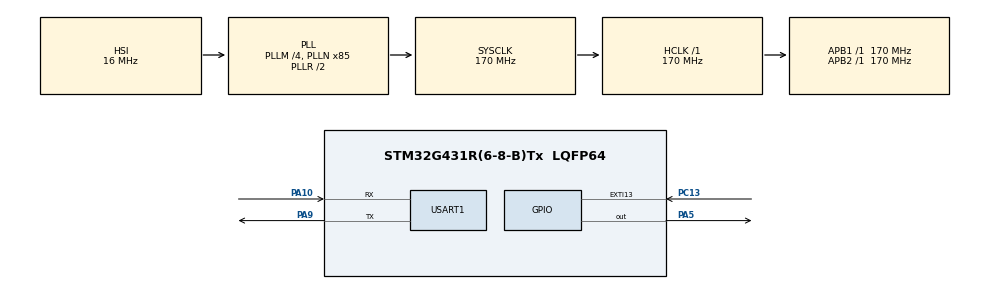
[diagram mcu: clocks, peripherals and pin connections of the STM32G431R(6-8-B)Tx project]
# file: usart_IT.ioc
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Mcu.Family=STM32G4
Mcu.Name=STM32G431R(6-8-B)Tx
Mcu.Package=LQFP64
NUCLEO-G431RB.BUTTON=1
NUCLEO-G431RB.LD1=true
NUCLEO-G431RB.VCP=true
NVIC.EXTI15_10_IRQn=true\:0\:0\:false\:false\:true\:false\:true\:true
NVIC.PriorityGroup=NVIC_PRIORITYGROUP_4
NVIC.USART1_IRQn=true\:0\:0\:false\:false\:true\:true\:true\:true
PA10.Mode=Asynchronous
PA10.Signal=USART1_RX
PA13.GPIO_Label=T_SWDIO
PA13.Signal=SYS_JTMS-SWDIO
PA14.GPIO_Label=T_SWCLK
PA14.Signal=SYS_JTCK-SWCLK
PA2.Signal=LPUART1_TX
PA3.Signal=LPUART1_RX
PA5.Signal=GPIO_Output
PA9.Mode=Asynchronous
PA9.Signal=USART1_TX
PB3.GPIO_Label=T_SWO
PB3.Signal=SYS_JTDO-SWO
PC13.Signal=GPXTI13
PC14-OSC32_IN.GPIO_Label=RCC_OSC32_OUT
PC14-OSC32_IN.Signal=RCC_OSC32_IN
PC15-OSC32_OUT.GPIO_Label=RCC_OSC32_OUT
PC15-OSC32_OUT.Signal=RCC_OSC32_OUT
PF0-OSC_IN.GPIO_Label=RCC_OSC_IN
PF0-OSC_IN.Signal=RCC_OSC_IN
PF1-OSC_OUT.GPIO_Label=RCC_OSC_OUT
PF1-OSC_OUT.Signal=RCC_OSC_OUT
ProjectManager.HeapSize=0x200
ProjectManager.StackSize=0x400
ProjectManager.TargetToolchain=STM32CubeIDE
RCC.ADC12Freq_Value=170000000
RCC.AHBFreq_Value=170000000
RCC.APB1Freq_Value=170000000
RCC.APB1TimFreq_Value=170000000
RCC.APB2Freq_Value=170000000
RCC.APB2TimFreq_Value=170000000
RCC.CortexFreq_Value=170000000
RCC.EXTERNAL_CLOCK_VALUE=12288000
RCC.HCLKFreq_Value=170000000
RCC.HSE_VALUE=24000000
RCC.HSI48_VALUE=48000000
RCC.HSI_VALUE=16000000
RCC.LSE_VALUE=32768
RCC.PLLM=RCC_PLLM_DIV4
RCC.PLLN=85
RCC.RTCClockSelection=RCC_RTCCLKSOURCE_LSE
RCC.SYSCLKFreq_VALUE=170000000
RCC.SYSCLKSource=RCC_SYSCLKSOURCE_PLLCLK
RCC.USBFreq_Value=170000000
RCC.VCOOutputFreq_Value=340000000
USART1.VirtualMode-Asynchronous=VM_ASYNC
VP_NUCLEO-G431RB_VS_BSP_COMMON.Mode=COMMON
VP_SYS_VS_DBSignals.Mode=DisableDeadBatterySignals
board=NUCLEO-G431RB

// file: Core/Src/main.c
/* USER CODE BEGIN Header */
/**
  ******************************************************************************
  * @file           : main.c
  * @brief          : Main program body
  ******************************************************************************
  * @attention
  *
  * Copyright (c) 2025 STMicroelectronics.
  * All rights reserved.
  *
  * This software is licensed under terms that can be found in the LICENSE file
  * in the root directory of this software component.
  * If no LICENSE file comes with this software, it is provided AS-IS.
  *
  ******************************************************************************
  */
/* USER CODE END Header */
#include "main.h"
#include "string.h"

COM_InitTypeDef BspCOMInit;
UART_HandleTypeDef huart1;

/* USER CODE BEGIN PV */
char *firstMessage="Hello World\r\n";
uint8_t rxDataindex = 0;
uint8_t rxData[10];
uint8_t newMessageFlag = 0;

/* USER CODE END PV */

void SystemClock_Config(void);
static void MX_GPIO_Init(void);
static void MX_USART1_UART_Init(void);

int main(void)
{

  /* MCU Configuration--------------------------------------------------------*/

  /* Reset of all peripherals, Initializes the Flash interface and the Systick. */
  HAL_Init();

  /* Configure the system clock */
  SystemClock_Config();

  /* Initialize all configured peripherals */
  MX_GPIO_Init();
  MX_USART1_UART_Init();

  /* Initialize leds */
  BSP_LED_Init(LED_GREEN);

  /* Initialize USER push-button, will be used to trigger an interrupt each time it's pressed.*/
  BSP_PB_Init(BUTTON_USER, BUTTON_MODE_EXTI);

  /* Initialize COM1 port (115200, 8 bits (7-bit data + 1 stop bit), no parity */
  BspCOMInit.BaudRate   = 115200;
  BspCOMInit.WordLength = COM_WORDLENGTH_8B;
  BspCOMInit.StopBits   = COM_STOPBITS_1;
  BspCOMInit.Parity     = COM_PARITY_NONE;
  BspCOMInit.HwFlowCtl  = COM_HWCONTROL_NONE;
  if (BSP_COM_Init(COM1, &BspCOMInit) != BSP_ERROR_NONE)
  {
    Error_Handler();
  }

  /* Infinite loop */
  /* USER CODE BEGIN WHILE */
   __HAL_UART_ENABLE_IT(&huart1, UART_IT_RXNE);
  //HAL_UART_Transmit_IT(&huart1, firstMessage, strlen(firstMessage));
  //HAL_UART_Receive_IT(&huart1, rxData, 10);
  while (1)
  {

	  if(newMessageFlag==1){
		  for(int i=0; i<10 ;i++)
		  {
			  if(rxData[i]=='\n')
			  {
				  rxDataindex=0;
				  if(rxData[0]=='L' &&rxData[1]=='E' &&rxData[2]=='D'  &&rxData[4]=='O'&& rxData[5]=='N')
				  {
					  HAL_GPIO_WritePin(GPIOA, GPIO_PIN_5, GPIO_PIN_SET);
				  }
				  else if(rxData[0]=='L' &&rxData[1]=='E' &&rxData[2]=='D'  &&rxData[4]=='O'&& rxData[5]=='F'&& rxData[6]=='F')
				  {
					  HAL_GPIO_WritePin(GPIOA, GPIO_PIN_5, GPIO_PIN_RESET);
				  }
				  else
				  {}
				  for(int i=0;i<10;i++){
					  rxData[i]=0;
				  }
				  break;
			  }
		  }
               newMessageFlag=0;

	  }

    /* USER CODE END WHILE */

  }
}

void SystemClock_Config(void)
{
  RCC_OscInitTypeDef RCC_OscInitStruct = {0};
  RCC_ClkInitTypeDef RCC_ClkInitStruct = {0};

  /** Configure the main internal regulator output voltage
  */
  HAL_PWREx_ControlVoltageScaling(PWR_REGULATOR_VOLTAGE_SCALE1_BOOST);

  /** Initializes the RCC Oscillators according to the specified parameters
  * in the RCC_OscInitTypeDef structure.
  */
  RCC_OscInitStruct.OscillatorType = RCC_OSCILLATORTYPE_HSI;
  RCC_OscInitStruct.HSIState = RCC_HSI_ON;
  RCC_OscInitStruct.HSICalibrationValue = RCC_HSICALIBRATION_DEFAULT;
  RCC_OscInitStruct.PLL.PLLState = RCC_PLL_ON;
  RCC_OscInitStruct.PLL.PLLSource = RCC_PLLSOURCE_HSI;
  RCC_OscInitStruct.PLL.PLLM = RCC_PLLM_DIV4;
  RCC_OscInitStruct.PLL.PLLN = 85;
  RCC_OscInitStruct.PLL.PLLP = RCC_PLLP_DIV2;
  RCC_OscInitStruct.PLL.PLLQ = RCC_PLLQ_DIV2;
  RCC_OscInitStruct.PLL.PLLR = RCC_PLLR_DIV2;
  if (HAL_RCC_OscConfig(&RCC_OscInitStruct) != HAL_OK)
  {
    Error_Handler();
  }

  /** Initializes the CPU, AHB and APB buses clocks
  */
  RCC_ClkInitStruct.ClockType = RCC_CLOCKTYPE_HCLK|RCC_CLOCKTYPE_SYSCLK
                              |RCC_CLOCKTYPE_PCLK1|RCC_CLOCKTYPE_PCLK2;
  RCC_ClkInitStruct.SYSCLKSource = RCC_SYSCLKSOURCE_PLLCLK;
  RCC_ClkInitStruct.AHBCLKDivider = RCC_SYSCLK_DIV1;
  RCC_ClkInitStruct.APB1CLKDivider = RCC_HCLK_DIV1;
  RCC_ClkInitStruct.APB2CLKDivider = RCC_HCLK_DIV1;

  if (HAL_RCC_ClockConfig(&RCC_ClkInitStruct, FLASH_LATENCY_4) != HAL_OK)
  {
    Error_Handler();
  }
}

static void MX_USART1_UART_Init(void)
{

  huart1.Instance = USART1;
  huart1.Init.BaudRate = 115200;
  huart1.Init.WordLength = UART_WORDLENGTH_8B;
  huart1.Init.StopBits = UART_STOPBITS_1;
  huart1.Init.Parity = UART_PARITY_NONE;
  huart1.Init.Mode = UART_MODE_TX_RX;
  huart1.Init.HwFlowCtl = UART_HWCONTROL_NONE;
  huart1.Init.OverSampling = UART_OVERSAMPLING_16;
  huart1.Init.OneBitSampling = UART_ONE_BIT_SAMPLE_DISABLE;
  huart1.Init.ClockPrescaler = UART_PRESCALER_DIV1;
  huart1.AdvancedInit.AdvFeatureInit = UART_ADVFEATURE_NO_INIT;
  if (HAL_UART_Init(&huart1) != HAL_OK)
  {
    Error_Handler();
  }
  if (HAL_UARTEx_SetTxFifoThreshold(&huart1, UART_TXFIFO_THRESHOLD_1_8) != HAL_OK)
  {
    Error_Handler();
  }
  if (HAL_UARTEx_SetRxFifoThreshold(&huart1, UART_RXFIFO_THRESHOLD_1_8) != HAL_OK)
  {
    Error_Handler();
  }
  if (HAL_UARTEx_DisableFifoMode(&huart1) != HAL_OK)
  {
    Error_Handler();
  }

}

static void MX_GPIO_Init(void)
{
  GPIO_InitTypeDef GPIO_InitStruct = {0};

  /* GPIO Ports Clock Enable */
  __HAL_RCC_GPIOC_CLK_ENABLE();
  __HAL_RCC_GPIOF_CLK_ENABLE();
  __HAL_RCC_GPIOA_CLK_ENABLE();
  __HAL_RCC_GPIOB_CLK_ENABLE();

  /*Configure GPIO pin Output Level */
  HAL_GPIO_WritePin(GPIOA, GPIO_PIN_5, GPIO_PIN_RESET);

  /*Configure GPIO pin : PA5 */
  GPIO_InitStruct.Pin = GPIO_PIN_5;
  GPIO_InitStruct.Mode = GPIO_MODE_OUTPUT_PP;
  GPIO_InitStruct.Pull = GPIO_NOPULL;
  GPIO_InitStruct.Speed = GPIO_SPEED_FREQ_LOW;
  HAL_GPIO_Init(GPIOA, &GPIO_InitStruct);

}

void Error_Handler(void)
{
  __disable_irq();
  while (1)
  {
  }
}
